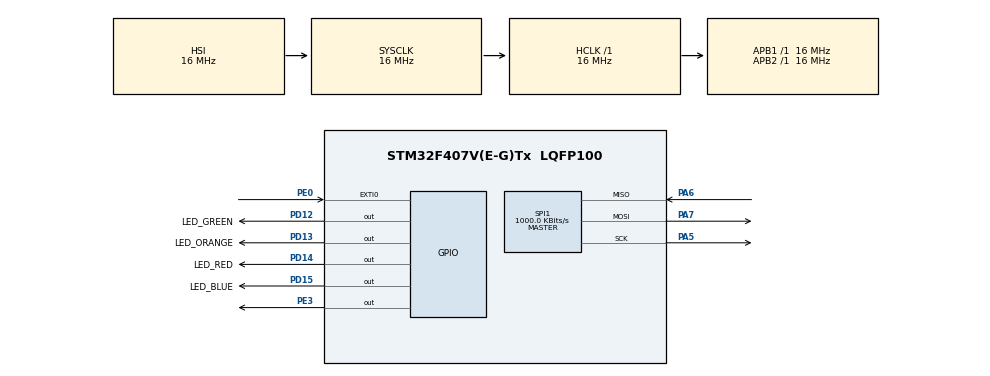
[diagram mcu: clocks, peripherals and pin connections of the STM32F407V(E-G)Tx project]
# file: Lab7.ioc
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Mcu.Family=STM32F4
Mcu.Name=STM32F407V(E-G)Tx
Mcu.Package=LQFP100
NVIC.EXTI0_IRQn=true\:0\:0\:false\:false\:true\:true\:true\:true
NVIC.PriorityGroup=NVIC_PRIORITYGROUP_4
PA5.Mode=Full_Duplex_Master
PA5.Signal=SPI1_SCK
PA6.Mode=Full_Duplex_Master
PA6.Signal=SPI1_MISO
PA7.Mode=Full_Duplex_Master
PA7.Signal=SPI1_MOSI
PD12.GPIO_Label=LED_GREEN
PD12.Signal=GPIO_Output
PD13.GPIO_Label=LED_ORANGE
PD13.Signal=GPIO_Output
PD14.GPIO_Label=LED_RED
PD14.Signal=GPIO_Output
PD15.GPIO_Label=LED_BLUE
PD15.Signal=GPIO_Output
PE0.Signal=GPXTI0
PE3.Signal=GPIO_Output
ProjectManager.HeapSize=0x200
ProjectManager.StackSize=0x400
ProjectManager.TargetToolchain=STM32CubeIDE
RCC.AHBFreq_Value=16000000
RCC.APB1Freq_Value=16000000
RCC.APB2Freq_Value=16000000
RCC.CortexFreq_Value=16000000
RCC.HSE_VALUE=25000000
RCC.HSI_VALUE=16000000
RCC.LSE_VALUE=32768
RCC.SYSCLKFreq_VALUE=16000000
RCC.VCOOutputFreq_Value=192000000
SPI1.BaudRatePrescaler=SPI_BAUDRATEPRESCALER_16
SPI1.CalculateBaudRate=1000.0 KBits/s
SPI1.Direction=SPI_DIRECTION_2LINES
SPI1.Mode=SPI_MODE_MASTER
SPI1.VirtualType=VM_MASTER
board=custom

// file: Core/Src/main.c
/* USER CODE BEGIN Header */
/**
  ******************************************************************************
  * @file           : main.c
  * @brief          : Main program body
  ******************************************************************************
  * @attention
  *
  * Copyright (c) 2023 STMicroelectronics.
  * All rights reserved.
  *
  * This software is licensed under terms that can be found in the LICENSE file
  * in the root directory of this software component.
  * If no LICENSE file comes with this software, it is provided AS-IS.
  *
  ******************************************************************************
  */
/* USER CODE END Header */
#include "main.h"

/* USER CODE BEGIN Includes */

#include "MY_LIS3DSH.h"

/* USER CODE END Includes */

/* USER CODE BEGIN PD */

#define SENSITIVITY 500.0

/* USER CODE END PD */

SPI_HandleTypeDef hspi1;

/* USER CODE BEGIN PV */

LIS3DSH_DataScaled myData;
uint8_t drdyFlag=0;

/* USER CODE END PV */

void SystemClock_Config(void);
static void MX_GPIO_Init(void);
static void MX_SPI1_Init(void);

/* USER CODE BEGIN 0 */

void HAL_GPIO_EXTI_Callback(uint16_t GPIO_Pin)
{
  /* Prevent unused argument(s) compilation warning */
  UNUSED(GPIO_Pin);
  /* NOTE: This function Should not be modified, when the callback is needed,
           the HAL_GPIO_EXTI_Callback could be implemented in the user file
   */

  drdyFlag = 1;
}

/* USER CODE END 0 */

int main(void)
{

  /* MCU Configuration--------------------------------------------------------*/

  /* Reset of all peripherals, Initializes the Flash interface and the Systick. */
  HAL_Init();

  /* Configure the system clock */
  SystemClock_Config();

  /* Initialize all configured peripherals */
  MX_GPIO_Init();
  MX_SPI1_Init();
  /* USER CODE BEGIN 2 */

  LIS3DSH_InitTypeDef myAccConfigDef;

  myAccConfigDef.dataRate = LIS3DSH_DATARATE_25;
  myAccConfigDef.fullScale = LIS3DSH_FULLSCALE_4;
  myAccConfigDef.antiAliasingBW = LIS3DSH_FILTER_BW_50;
  myAccConfigDef.enableAxes = LIS3DSH_XYZ_ENABLE;
  myAccConfigDef.interruptEnable = true;
  LIS3DSH_Init(&hspi1, &myAccConfigDef);

  LIS3DSH_X_calibrate(-1000.0, 980.0);
  LIS3DSH_Y_calibrate(-1020.0, 1040.0);
  LIS3DSH_Z_calibrate(-920.0, 1040.0);

  /* USER CODE END 2 */

  /* Infinite loop */
  /* USER CODE BEGIN WHILE */
  while (1)
  {
	if(drdyFlag == 1)
	{
		myData = LIS3DSH_GetDataScaled();

		// tilt to the right -> ORANGE
		if (myData.x > SENSITIVITY && myData.y < SENSITIVITY && myData.y > -SENSITIVITY)
		{
			HAL_GPIO_WritePin(GPIOD, LED_GREEN_Pin, GPIO_PIN_RESET);
			HAL_GPIO_WritePin(GPIOD, LED_ORANGE_Pin, GPIO_PIN_SET);
			HAL_GPIO_WritePin(GPIOD, LED_RED_Pin, GPIO_PIN_RESET);
			HAL_GPIO_WritePin(GPIOD, LED_BLUE_Pin, GPIO_PIN_RESET);
		}
		// tilt to the left -> GREEN on
		else if (myData.x < -SENSITIVITY && myData.y < SENSITIVITY && myData.y > -SENSITIVITY)
		{
			HAL_GPIO_WritePin(GPIOD, LED_GREEN_Pin, GPIO_PIN_SET);
			HAL_GPIO_WritePin(GPIOD, LED_ORANGE_Pin, GPIO_PIN_RESET);
			HAL_GPIO_WritePin(GPIOD, LED_RED_Pin, GPIO_PIN_RESET);
			HAL_GPIO_WritePin(GPIOD, LED_BLUE_Pin, GPIO_PIN_RESET);
		}
		// tilt to the front -> RED on
		else if (myData.y > SENSITIVITY && myData.x < SENSITIVITY && myData.x > -SENSITIVITY)
		{
			HAL_GPIO_WritePin(GPIOD, LED_GREEN_Pin, GPIO_PIN_RESET);
			HAL_GPIO_WritePin(GPIOD, LED_ORANGE_Pin, GPIO_PIN_RESET);
			HAL_GPIO_WritePin(GPIOD, LED_RED_Pin, GPIO_PIN_SET);
			HAL_GPIO_WritePin(GPIOD, LED_BLUE_Pin, GPIO_PIN_RESET);
		}
		// tilt to the front -> BLUE on
		else if (myData.y < -SENSITIVITY && myData.x < SENSITIVITY && myData.x > -SENSITIVITY)
		{
			HAL_GPIO_WritePin(GPIOD, LED_GREEN_Pin, GPIO_PIN_RESET);
			HAL_GPIO_WritePin(GPIOD, LED_ORANGE_Pin, GPIO_PIN_RESET);
			HAL_GPIO_WritePin(GPIOD, LED_RED_Pin, GPIO_PIN_RESET);
			HAL_GPIO_WritePin(GPIOD, LED_BLUE_Pin, GPIO_PIN_SET);
		}
		// no tilt -> ALL off
		else
		{
			HAL_GPIO_WritePin(GPIOD, LED_GREEN_Pin, GPIO_PIN_RESET);
			HAL_GPIO_WritePin(GPIOD, LED_ORANGE_Pin, GPIO_PIN_RESET);
			HAL_GPIO_WritePin(GPIOD, LED_RED_Pin, GPIO_PIN_RESET);
			HAL_GPIO_WritePin(GPIOD, LED_BLUE_Pin, GPIO_PIN_RESET);
		}

		drdyFlag = 0;
	}
    /* USER CODE END WHILE */

  }
}

void SystemClock_Config(void)
{
  RCC_OscInitTypeDef RCC_OscInitStruct = {0};
  RCC_ClkInitTypeDef RCC_ClkInitStruct = {0};

  /** Configure the main internal regulator output voltage
  */
  __HAL_RCC_PWR_CLK_ENABLE();
  __HAL_PWR_VOLTAGESCALING_CONFIG(PWR_REGULATOR_VOLTAGE_SCALE1);

  /** Initializes the RCC Oscillators according to the specified parameters
  * in the RCC_OscInitTypeDef structure.
  */
  RCC_OscInitStruct.OscillatorType = RCC_OSCILLATORTYPE_HSI;
  RCC_OscInitStruct.HSIState = RCC_HSI_ON;
  RCC_OscInitStruct.HSICalibrationValue = RCC_HSICALIBRATION_DEFAULT;
  RCC_OscInitStruct.PLL.PLLState = RCC_PLL_NONE;
  if (HAL_RCC_OscConfig(&RCC_OscInitStruct) != HAL_OK)
  {
    Error_Handler();
  }

  /** Initializes the CPU, AHB and APB buses clocks
  */
  RCC_ClkInitStruct.ClockType = RCC_CLOCKTYPE_HCLK|RCC_CLOCKTYPE_SYSCLK
                              |RCC_CLOCKTYPE_PCLK1|RCC_CLOCKTYPE_PCLK2;
  RCC_ClkInitStruct.SYSCLKSource = RCC_SYSCLKSOURCE_HSI;
  RCC_ClkInitStruct.AHBCLKDivider = RCC_SYSCLK_DIV1;
  RCC_ClkInitStruct.APB1CLKDivider = RCC_HCLK_DIV1;
  RCC_ClkInitStruct.APB2CLKDivider = RCC_HCLK_DIV1;

  if (HAL_RCC_ClockConfig(&RCC_ClkInitStruct, FLASH_LATENCY_0) != HAL_OK)
  {
    Error_Handler();
  }
}

static void MX_SPI1_Init(void)
{

  /* SPI1 parameter configuration*/
  hspi1.Instance = SPI1;
  hspi1.Init.Mode = SPI_MODE_MASTER;
  hspi1.Init.Direction = SPI_DIRECTION_2LINES;
  hspi1.Init.DataSize = SPI_DATASIZE_8BIT;
  hspi1.Init.CLKPolarity = SPI_POLARITY_LOW;
  hspi1.Init.CLKPhase = SPI_PHASE_1EDGE;
  hspi1.Init.NSS = SPI_NSS_SOFT;
  hspi1.Init.BaudRatePrescaler = SPI_BAUDRATEPRESCALER_16;
  hspi1.Init.FirstBit = SPI_FIRSTBIT_MSB;
  hspi1.Init.TIMode = SPI_TIMODE_DISABLE;
  hspi1.Init.CRCCalculation = SPI_CRCCALCULATION_DISABLE;
  hspi1.Init.CRCPolynomial = 10;
  if (HAL_SPI_Init(&hspi1) != HAL_OK)
  {
    Error_Handler();
  }

}

static void MX_GPIO_Init(void)
{
  GPIO_InitTypeDef GPIO_InitStruct = {0};

  /* GPIO Ports Clock Enable */
  __HAL_RCC_GPIOE_CLK_ENABLE();
  __HAL_RCC_GPIOA_CLK_ENABLE();
  __HAL_RCC_GPIOD_CLK_ENABLE();

  /*Configure GPIO pin Output Level */
  HAL_GPIO_WritePin(GPIOE, GPIO_PIN_3, GPIO_PIN_RESET);

  /*Configure GPIO pin Output Level */
  HAL_GPIO_WritePin(GPIOD, LED_GREEN_Pin|LED_ORANGE_Pin|LED_RED_Pin|LED_BLUE_Pin, GPIO_PIN_RESET);

  /*Configure GPIO pin : PE3 */
  GPIO_InitStruct.Pin = GPIO_PIN_3;
  GPIO_InitStruct.Mode = GPIO_MODE_OUTPUT_PP;
  GPIO_InitStruct.Pull = GPIO_NOPULL;
  GPIO_InitStruct.Speed = GPIO_SPEED_FREQ_LOW;
  HAL_GPIO_Init(GPIOE, &GPIO_InitStruct);

  /*Configure GPIO pins : LED_GREEN_Pin LED_ORANGE_Pin LED_RED_Pin LED_BLUE_Pin */
  GPIO_InitStruct.Pin = LED_GREEN_Pin|LED_ORANGE_Pin|LED_RED_Pin|LED_BLUE_Pin;
  GPIO_InitStruct.Mode = GPIO_MODE_OUTPUT_PP;
  GPIO_InitStruct.Pull = GPIO_NOPULL;
  GPIO_InitStruct.Speed = GPIO_SPEED_FREQ_LOW;
  HAL_GPIO_Init(GPIOD, &GPIO_InitStruct);

  /*Configure GPIO pin : PE0 */
  GPIO_InitStruct.Pin = GPIO_PIN_0;
  GPIO_InitStruct.Mode = GPIO_MODE_IT_RISING;
  GPIO_InitStruct.Pull = GPIO_NOPULL;
  HAL_GPIO_Init(GPIOE, &GPIO_InitStruct);

  /* EXTI interrupt init*/
  HAL_NVIC_SetPriority(EXTI0_IRQn, 0, 0);
  HAL_NVIC_EnableIRQ(EXTI0_IRQn);

}

void Error_Handler(void)
{
  __disable_irq();
  while (1)
  {
  }
}
